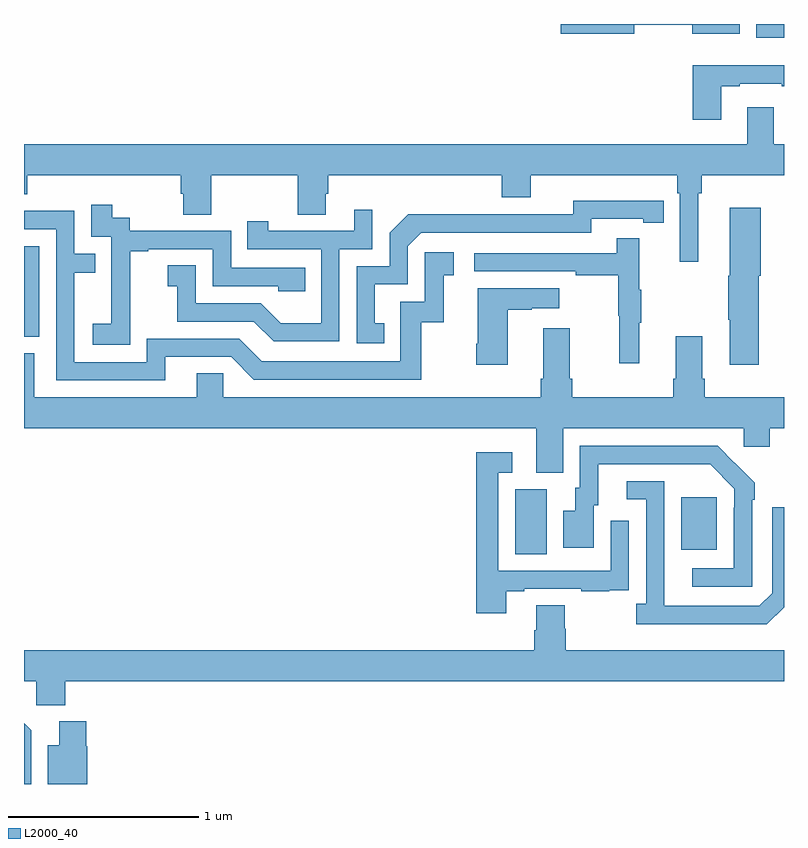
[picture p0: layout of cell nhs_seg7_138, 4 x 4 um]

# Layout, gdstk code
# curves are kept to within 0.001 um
import gdstk
lib = gdstk.Library(unit=1e-6, precision=1e-09)
def R(c, l, rs):  # rectangles x0, y0, x1, y1
    for r in rs: c.add(gdstk.rectangle(r[:2], r[2:], *l))
def P(c, l, *ps):  # polygons
    for p in ps: c.add(gdstk.Polygon(p, *l))
L2000_40 = (2000, 40)

nhs_seg7_138 = lib.new_cell('nhs_seg7_138')
R(nhs_seg7_138, L2000_40, [(121.586,1077.208,121.75,1077.552), (122.459,1077.233,122.647,1077.508), (119,1078.353,119.079,1078.83), (122.855,1079.928,123,1080)])
P(nhs_seg7_138, L2000_40, [(122.212,1079.995),(122.516,1079.995),(122.516,1079.948),(122.767,1079.948),(122.767,1080),(121.824,1080),(121.824,1079.948),(122.212,1079.948)],
  [(122.671,1079.673),(122.767,1079.673),(122.767,1079.685),(122.987,1079.685),(122.987,1079.673),(123,1079.673),(123,1079.782),(122.519,1079.782),(122.519,1079.496),(122.671,1079.496)],
  [(122.548,1079.108),(122.567,1079.108),(122.567,1079.204),(123,1079.204),(123,1079.368),(122.947,1079.368),(122.947,1079.563),(122.807,1079.563),(122.807,1079.368),(119,1079.368),(119,1079.105),(119.018,1079.105),(119.018,1079.204),(119.825,1079.204),(119.825,1079.106),(119.837,1079.106),(119.837,1078.996),(119.985,1078.996),(119.985,1079.204),(120.442,1079.204),(120.442,1078.996),(120.589,1078.996),(120.589,1079.106),(120.602,1079.106),(120.602,1079.204),(121.514,1079.204),(121.514,1079.087),(121.666,1079.087),(121.666,1079.204),(122.438,1079.204),(122.438,1079.108),(122.451,1079.108),(122.451,1078.749),(122.548,1078.749)],
  [(120.896,1078.425),(120.847,1078.425),(120.847,1078.629),(121.02,1078.629),(121.02,1078.83),(121.092,1078.902),(121.986,1078.902),(121.986,1078.974),(122.258,1078.974),(122.258,1078.954),(122.366,1078.954),(122.366,1079.07),(121.89,1079.071),(121.89,1078.998),(121.43,1078.998),(121.43,1079),(121.022,1079),(120.924,1078.902),(120.924,1078.725),(120.75,1078.725),(120.75,1078.32),(120.896,1078.32)],
  [(119.559,1078.519),(119.558,1078.519),(119.558,1078.803),(119.653,1078.803),(119.653,1078.815),(119.994,1078.815),(119.994,1078.62),(120.339,1078.62),(120.339,1078.593),(120.479,1078.593),(120.479,1078.716),(120.09,1078.716),(120.09,1078.911),(119.556,1078.911),(119.556,1078.98),(119.464,1078.98),(119.464,1079.05),(119.355,1079.05),(119.355,1078.881),(119.46,1078.881),(119.46,1078.652),(119.459,1078.652),(119.459,1078.423),(119.361,1078.423),(119.361,1078.313),(119.559,1078.313)],
  [(122.868,1078.674),(122.878,1078.674),(122.878,1079.032),(122.714,1079.032),(122.714,1078.674),(122.707,1078.674),(122.707,1078.444),(122.714,1078.444),(122.714,1078.206),(122.868,1078.206)],
  [(120.66,1078.815),(120.834,1078.815),(120.834,1079.023),(120.737,1079.023),(120.737,1078.911),(120.286,1078.911),(120.286,1078.963),(120.175,1078.963),(120.175,1078.815),(120.564,1078.815),(120.564,1078.426),(120.35,1078.426),(120.246,1078.53),(119.904,1078.53),(119.904,1078.729),(119.757,1078.729),(119.757,1078.619),(119.806,1078.619),(119.806,1078.434),(120.209,1078.434),(120.314,1078.329),(120.66,1078.329)],
  [(119.743,1078.248),(120.09,1078.248),(120.21,1078.128),(121.09,1078.128),(121.09,1078.431),(121.208,1078.431),(121.208,1078.677),(121.261,1078.677),(121.261,1078.798),(121.11,1078.798),(121.11,1078.539),(120.981,1078.539),(120.981,1078.224),(120.252,1078.224),(120.132,1078.344),(119.646,1078.344),(119.646,1078.221),(119.265,1078.221),(119.265,1078.69),(119.375,1078.69),(119.375,1078.791),(119.265,1078.791),(119.265,1079.016),(119,1079.016),(119,1078.92),(119.169,1078.92),(119.169,1078.125),(119.743,1078.125)],
  [(122.237,1078.427),(122.248,1078.427),(122.248,1078.601),(122.237,1078.601),(122.237,1078.873),(122.119,1078.873),(122.119,1078.794),(121.371,1078.794),(121.371,1078.698),(121.903,1078.698),(121.903,1078.678),(122.127,1078.678),(122.127,1078.464),(122.134,1078.464),(122.134,1078.215),(122.237,1078.215)],
  [(121.546,1078.495),(121.673,1078.495),(121.673,1078.505),(121.816,1078.505),(121.816,1078.609),(121.388,1078.609),(121.388,1078.318),(121.381,1078.318),(121.381,1078.206),(121.546,1078.206)],
  [(121.837,1077.872),(122.787,1077.872),(122.787,1077.774),(122.926,1077.774),(122.926,1077.872),(123,1077.872),(123,1078.036),(122.582,1078.036),(122.582,1078.132),(122.569,1078.132),(122.569,1078.357),(122.429,1078.357),(122.429,1078.132),(122.417,1078.132),(122.417,1078.036),(121.886,1078.036),(121.886,1078.132),(121.873,1078.132),(121.873,1078.399),(121.733,1078.399),(121.733,1078.132),(121.721,1078.132),(121.721,1078.036),(120.048,1078.036),(120.048,1078.163),(119.909,1078.163),(119.909,1078.036),(119.053,1078.036),(119.053,1078.268),(119,1078.268),(119,1077.872),(121.697,1077.872),(121.697,1077.637),(121.837,1077.637)],
  [(122.832,1077.497),(122.847,1077.497),(122.847,1077.585),(122.65,1077.78),(121.926,1077.78),(121.926,1077.558),(121.901,1077.558),(121.901,1077.439),(121.838,1077.439),(121.838,1077.243),(121.999,1077.243),(121.999,1077.468),(122.023,1077.468),(122.023,1077.684),(122.611,1077.684),(122.739,1077.555),(122.739,1077.455),(122.736,1077.455),(122.736,1077.135),(122.517,1077.135),(122.517,1077.039),(122.832,1077.039)],
  [(121.537,1077.015),(121.633,1077.015),(121.633,1077.027),(121.933,1077.027),(121.933,1077.015),(122.081,1077.015),(122.081,1077.021),(122.183,1077.021),(122.183,1077.13),(122.184,1077.13),(122.184,1077.385),(122.088,1077.385),(122.088,1077.123),(121.497,1077.123),(121.497,1077.639),(121.57,1077.639),(121.57,1077.745),(121.381,1077.745),(121.381,1076.898),(121.537,1076.898)],
  [(123,1076.93),(123,1077.457),(122.937,1077.457),(122.937,1077.003),(122.871,1076.937),(122.371,1076.937),(122.37,1077.594),(122.172,1077.594),(122.172,1077.498),(122.274,1077.498),(122.274,1076.95),(122.223,1076.95),(122.223,1076.84),(122.91,1076.84)],
  [(119.216,1076.54),(123,1076.54),(123,1076.704),(121.85,1076.704),(121.85,1076.817),(121.845,1076.817),(121.845,1076.942),(121.697,1076.942),(121.697,1076.81),(121.685,1076.81),(121.685,1076.704),(119,1076.704),(119,1076.54),(119.064,1076.54),(119.064,1076.414),(119.216,1076.414)],
  [(119.333,1076.199),(119.327,1076.199),(119.327,1076.329),(119.186,1076.329),(119.186,1076.203),(119.126,1076.203),(119.126,1076),(119.333,1076)],
  [(119.037,1076.283),(119,1076.32),(119,1076),(119.037,1076)])

lib.write_gds('nhs_seg7_138.gds')
